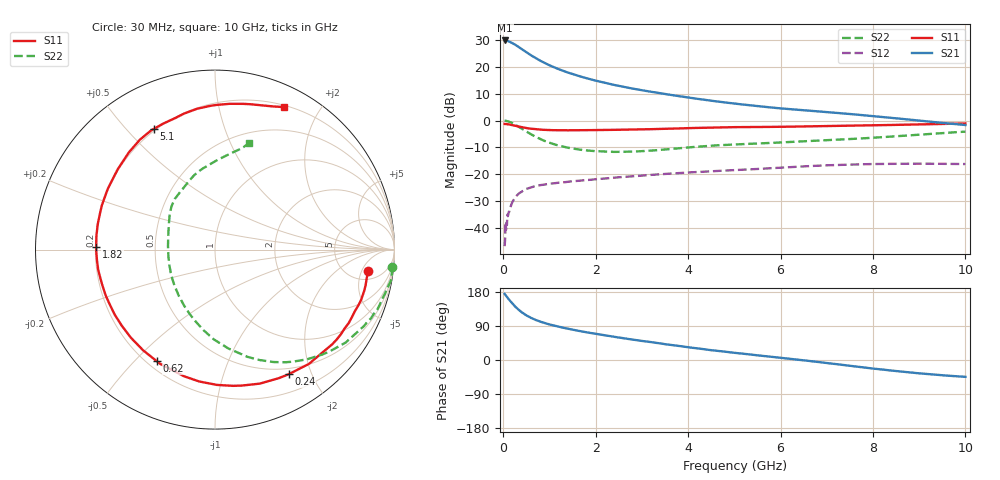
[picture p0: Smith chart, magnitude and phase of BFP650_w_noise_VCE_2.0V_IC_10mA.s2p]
! (c) 2016  Infineon Technologies AG, Munich
! Infineon Technologies  Discrete & RF Semiconductors
! BFP650
! VCE =  2.0 V,  IC =  10 mA
! Common Emitter S-Parameters:  Jan 2016
# GHz  S  MA  R  50
!  f  S11  S21  S12  S22
! GHz  MAG  ANG  MAG  ANG  MAG  ANG  MAG  ANG
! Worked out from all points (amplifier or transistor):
!   229 points, 30 MHz to 10 GHz, reference 50 ohm
!   highest |S21| = 29.8 dB at 40 MHz (marker M1)
!   |S21| within 3 dB of that: start of sweep to 382.6 MHz
!   unconditionally stable (mu >= 1): 3.399 GHz to end of sweep
!   at 280 MHz: K = 0.14, MSG = 28.1 dB, |S12| = -28.2 dB
!   at 1.78 GHz: K = 0.71, MSG = 19.0 dB, |S12| = -22.2 dB
!   at 10 GHz: K = 1.06, MAG = 5.7 dB, |S12| = -16.2 dB
!   lowest NFmin = 0.58 dB at 450 MHz
!   S11 on the Smith chart (normalised r, x): 30 MHz: 7.35, -6.72; 240 MHz: 0.42, -1.67; 620 MHz: 0.24, -0.58; 1.82 GHz: 0.20, +0.01; 5.1 GHz: 0.19, +0.60; 10 GHz: 0.22, +1.58
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0.03  0.8626 -7.8  30.71 174.5  0.0046 98.9  0.992 -5.6
0.04  0.8601 -10.7  30.89 172.8  0.006 77.9  0.9933 -7.5
0.05  0.8623 -13.3  30.62 171.0  0.0127 95.3  0.998 -9.2
0.1  0.8505 -26.3  30.18 163.4  0.0166 73.4  0.9679 -18.4
0.13  0.8451 -33.9  29.37 158.7  0.0201 73.4  0.9495 -23.8
0.2  0.8242 -50.6  27.59 148.6  0.0307 64.9  0.8936 -35.4
0.24  0.8067 -59.4  26.37 143.4  0.0349 59.9  0.8555 -41.4
0.3  0.7874 -71.5  24.46 136.2  0.0408 54.9  0.7979 -50.0
0.42  0.7468 -92.2  20.8 124.3  0.0489 47.6  0.6884 -64.6
0.5  0.7267 -103.6  18.67 117.8  0.0535 43.5  0.6246 -73.1
0.62  0.7013 -117.4  16.01 110.2  0.0579 38.5  0.5433 -83.9
0.8  0.6786 -133.7  13 101.2  0.0628 33.7  0.4541 -98.0
1  0.6659 -147.1  10.67 93.8  0.0668 30.5  0.3872 -111.1
1.3  0.6585 -162.2  8.37 85.0  0.0706 27.3  0.3266 -128.3
1.7  0.661 -177.4  6.488 75.4  0.0768 24.9  0.284 -147.8
1.82  0.6622 178.7  6.072 72.7  0.0783 24.1  0.2771 -153.2
2.54  0.6748 160.0  4.345 58.6  0.0885 21.1  0.2616 179.4
3.4  0.6979 142.4  3.213 43.7  0.1002 16.7  0.2844 155.4
5.1  0.7539 117.0  2.023 17.8  0.1208 7.1  0.3623 127.2
6.8  0.7848 99.4  1.483 -5.0  0.1443 -4.7  0.4236 107.1
8.4  0.8272 79.0  1.122 -27.9  0.1566 -19.1  0.5031 87.7
10  0.8831 64.1  0.826 -44.5  0.1551 -29.9  0.6211 72.4
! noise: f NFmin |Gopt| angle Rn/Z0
0.45  0.58  0.09  70  0.61
0.9  0.59  0.12  117  0.4
1.9  0.8  0.26  160  0.06
2.4  0.9  0.27  172  0.06
3.5  1.22  0.31  -137  0.22
